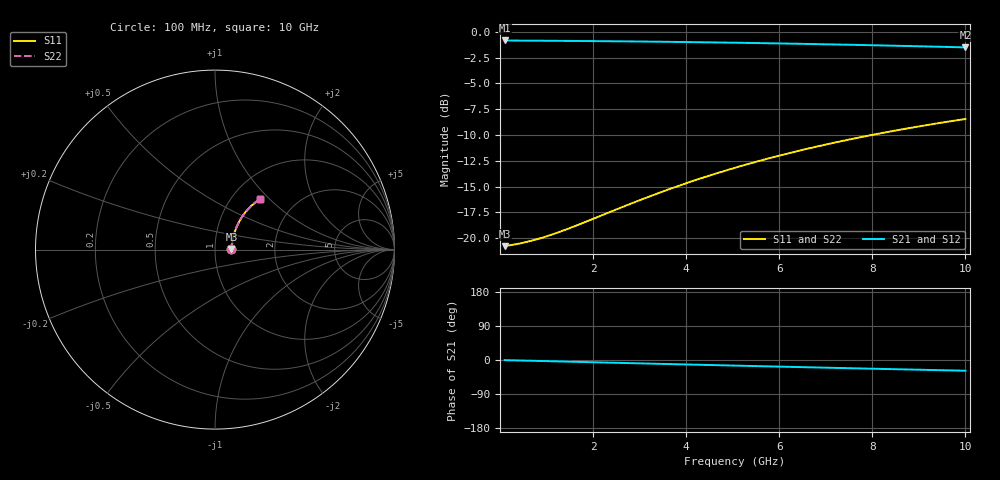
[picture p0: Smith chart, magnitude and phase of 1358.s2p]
# Hz S RI R 50.00
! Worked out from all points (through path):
!   100 points, 100 MHz to 10 GHz, reference 50 ohm
!   highest |S21| = -0.83 dB at 100 MHz (marker M1); lowest = -1.5 dB at 10 GHz (marker M2)
!   group delay of S21, straight-line fit = 7.87 ps
!   lowest |S11| = -20.8 dB at 100 MHz (marker M3), VSWR 1.20, Z = 60.1 + j0.432 ohm
!   |S11| at or under -10 dB: start of sweep to 7.988 GHz
!   |S22| runs from -20.8 to -8.4 dB; largest |S21 - S12| = 0
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1e8  0.0914 0.00357  0.9086 -0.00472  0.9086 -0.00472  0.0914 0.00357
3e8  0.0924 0.0107  0.9075 -0.0141  0.9075 -0.0141  0.0924 0.0107
5e8  0.0933 0.0178  0.9066 -0.0235  0.9066 -0.0235  0.0933 0.0178
7e8  0.0942 0.0248  0.9057 -0.0329  0.9057 -0.0329  0.0942 0.0248
9e8  0.0952 0.0319  0.9048 -0.0422  0.9048 -0.0422  0.0952 0.0319
1.1e9  0.0962 0.0389  0.9037 -0.0515  0.9037 -0.0515  0.0962 0.0389
1.3e9  0.0974 0.0458  0.9025 -0.0608  0.9025 -0.0608  0.0974 0.0458
1.8e9  0.1007 0.0632  0.899 -0.0839  0.899 -0.0839  0.1007 0.0632
2.8e9  0.1098 0.097  0.8896 -0.1293  0.8896 -0.1293  0.1098 0.097
3.4e9  0.1168 0.1167  0.8823 -0.1559  0.8823 -0.1559  0.1168 0.1167
3.8e9  0.1221 0.1295  0.8769 -0.1734  0.8769 -0.1734  0.1221 0.1295
4.2e9  0.1278 0.142  0.8709 -0.1905  0.8709 -0.1905  0.1278 0.142
4.6e9  0.134 0.1543  0.8645 -0.2074  0.8645 -0.2074  0.134 0.1543
5.1e9  0.1423 0.1691  0.8558 -0.228  0.8558 -0.228  0.1423 0.1691
5.5e9  0.1495 0.1806  0.8483 -0.2441  0.8483 -0.2441  0.1495 0.1806
5.9e9  0.1571 0.1917  0.8405 -0.2599  0.8405 -0.2599  0.1571 0.1917
6.3e9  0.165 0.2024  0.8322 -0.2753  0.8322 -0.2753  0.165 0.2024
6.7e9  0.1733 0.2127  0.8235 -0.2903  0.8235 -0.2903  0.1733 0.2127
7.5e9  0.1908 0.2322  0.8052 -0.3191  0.8052 -0.3191  0.1908 0.2322
8.4e9  0.2119 0.2521  0.7831 -0.3495  0.7831 -0.3495  0.2119 0.2521
9.2e9  0.2316 0.2679  0.7624 -0.3747  0.7624 -0.3747  0.2316 0.2679
1e10  0.252 0.2819  0.7408 -0.3982  0.7408 -0.3982  0.252 0.2819
